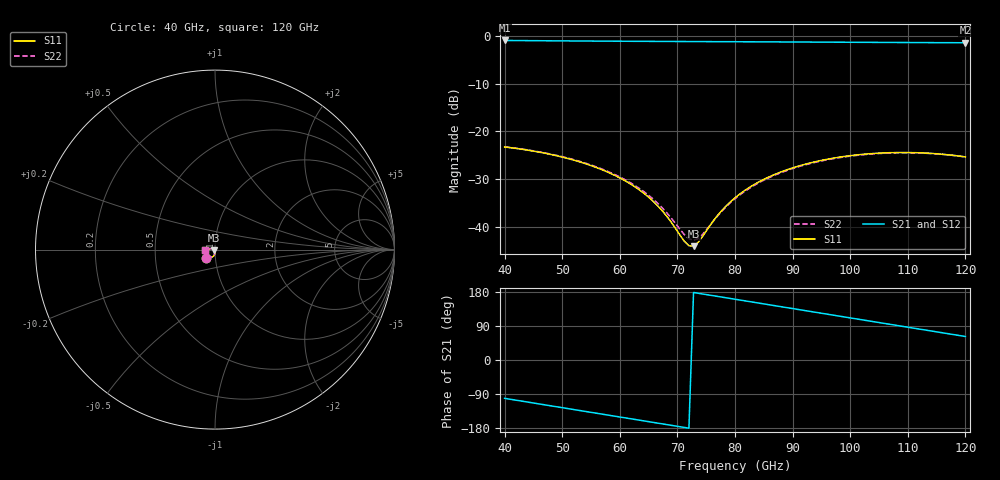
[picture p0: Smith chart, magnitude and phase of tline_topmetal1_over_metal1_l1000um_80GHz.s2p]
#  GHZ S DB R 50
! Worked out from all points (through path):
!   101 points, 40 GHz to 120 GHz, reference 50 ohm
!   highest |S21| = -0.98 dB at 40 GHz (marker M1); lowest = -1.5 dB at 120 GHz (marker M2)
!   group delay of S21, straight-line fit = 6.84 ps
!   lowest |S11| = -44.0 dB at 72.8 GHz (marker M3), VSWR 1.01, Z = 49.5 - j0.432 ohm
!   |S11| at or under -10 dB: start of sweep to end of sweep
!   |S22| runs from -42.7 to -23.2 dB; largest |S21 - S12| = 1e-13
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40  -23.25 -135.3  -0.98 -101.1  -0.98 -101.1  -23.21 -135.2
46.4  -24.41 -154.0  -1.04 -116.9  -1.04 -116.9  -24.35 -153.7
53.6  -26.57 -173.4  -1.10 -134.7  -1.10 -134.7  -26.46 -172.9
57.6  -28.34 177.0  -1.13 -144.5  -1.13 -144.5  -28.19 177.7
61.6  -30.79 168.9  -1.15 -154.3  -1.15 -154.3  -30.55 169.9
64.8  -33.53 164.8  -1.17 -162.2  -1.17 -162.2  -33.15 166.2
67.2  -36.34 165.3  -1.18 -168.1  -1.18 -168.1  -35.76 166.9
71.2  -42.95 -168.1  -1.21 -178.0  -1.21 -178.0  -41.55 -169.9
72  -43.88 -153.4  -1.21 -179.9  -1.21 -179.9  -42.43 -158.1
72.8  -43.97 -136.5  -1.21 178.1  -1.21 178.1  -42.75 -144.1
73.6  -43.18 -121.2  -1.22 176.1  -1.22 176.1  -42.38 -130.3
74.4  -41.89 -109.7  -1.22 174.2  -1.22 174.2  -41.47 -118.8
76.8  -37.81 -94.0  -1.23 168.3  -1.23 168.3  -37.90 -100.4
80  -33.87 -91.3  -1.25 160.4  -1.25 160.4  -34.05 -95.4
82.4  -31.77 -93.6  -1.26 154.5  -1.26 154.5  -31.95 -96.9
85.6  -29.66 -98.8  -1.28 146.6  -1.28 146.6  -29.83 -101.4
89.6  -27.77 -106.9  -1.30 136.7  -1.30 136.7  -27.91 -109.0
93.6  -26.42 -115.7  -1.32 126.9  -1.32 126.9  -26.54 -117.6
100.8  -24.95 -132.4  -1.36 109.2  -1.36 109.2  -25.04 -133.8
107.2  -24.43 -147.4  -1.40 93.4  -1.40 93.4  -24.50 -148.6
113.6  -24.55 -162.2  -1.43 77.7  -1.43 77.7  -24.59 -163.2
120  -25.33 -176.6  -1.47 62.0  -1.47 62.0  -25.33 -177.4
